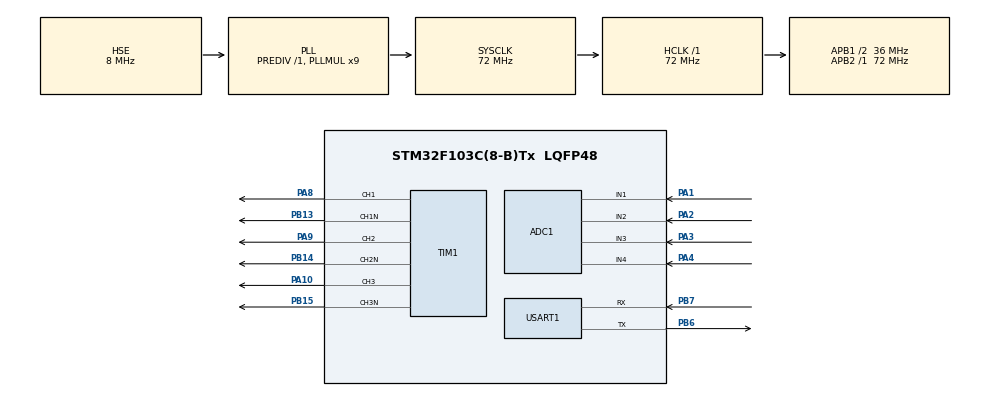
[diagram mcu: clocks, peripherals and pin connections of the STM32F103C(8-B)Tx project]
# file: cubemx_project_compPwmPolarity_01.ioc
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ADC1.Channel-0\#ChannelRegularConversion=ADC_CHANNEL_1
ADC1.ContinuousConvMode=ENABLE
ADC1.NbrOfConversion=1
ADC1.NbrOfConversionFlag=1
ADC1.Rank-0\#ChannelRegularConversion=1
ADC1.SamplingTime-0\#ChannelRegularConversion=ADC_SAMPLETIME_71CYCLES_5
ADC1.master=1
Mcu.Family=STM32F1
Mcu.Name=STM32F103C(8-B)Tx
Mcu.Package=LQFP48
NVIC.ADC1_2_IRQn=true\:0\:0\:false\:false\:true\:true\:true\:true
NVIC.PriorityGroup=NVIC_PRIORITYGROUP_4
NVIC.RCC_IRQn=true\:0\:0\:false\:false\:true\:true\:false\:true
NVIC.TIM1_CC_IRQn=true\:0\:0\:false\:false\:true\:true\:true\:true
NVIC.TIM1_TRG_COM_IRQn=true\:0\:0\:false\:false\:true\:true\:true\:true
NVIC.TIM2_IRQn=true\:0\:0\:false\:false\:true\:true\:true\:true
NVIC.USART1_IRQn=true\:0\:0\:false\:false\:true\:true\:true\:true
PA1.Signal=ADCx_IN1
PA10.GPIO_Speed=GPIO_SPEED_FREQ_HIGH
PA10.Signal=S_TIM1_CH3
PA13.Mode=Serial_Wire
PA13.Signal=SYS_JTMS-SWDIO
PA14.Mode=Serial_Wire
PA14.Signal=SYS_JTCK-SWCLK
PA2.Signal=ADCx_IN2
PA3.Signal=ADCx_IN3
PA4.Signal=ADCx_IN4
PA8.GPIO_Speed=GPIO_SPEED_FREQ_HIGH
PA8.Signal=S_TIM1_CH1
PA9.GPIO_Speed=GPIO_SPEED_FREQ_HIGH
PA9.Signal=S_TIM1_CH2
PB13.GPIO_Speed=GPIO_SPEED_FREQ_HIGH
PB13.Mode=PWM Generation1 CH1 CH1N
PB13.Signal=TIM1_CH1N
PB14.GPIO_Speed=GPIO_SPEED_FREQ_HIGH
PB14.Mode=PWM Generation2 CH2 CH2N
PB14.Signal=TIM1_CH2N
PB15.GPIO_Speed=GPIO_SPEED_FREQ_HIGH
PB15.Mode=PWM Generation3 CH3 CH3N
PB15.Signal=TIM1_CH3N
PB6.Mode=Asynchronous
PB6.Signal=USART1_TX
PB7.Mode=Asynchronous
PB7.Signal=USART1_RX
PD0-OSC_IN.Mode=HSE-External-Oscillator
PD0-OSC_IN.Signal=RCC_OSC_IN
PD1-OSC_OUT.Mode=HSE-External-Oscillator
PD1-OSC_OUT.Signal=RCC_OSC_OUT
ProjectManager.HeapSize=0x200
ProjectManager.StackSize=0x400
ProjectManager.TargetToolchain=STM32CubeIDE
RCC.ADCPresc=RCC_ADCPCLK2_DIV6
RCC.AHBFreq_Value=72000000
RCC.APB1CLKDivider=RCC_HCLK_DIV2
RCC.APB1Freq_Value=36000000
RCC.APB1TimFreq_Value=72000000
RCC.APB2Freq_Value=72000000
RCC.APB2TimFreq_Value=72000000
RCC.HCLKFreq_Value=72000000
RCC.PLLMUL=RCC_PLL_MUL9
RCC.PLLSourceVirtual=RCC_PLLSOURCE_HSE
RCC.SYSCLKFreq_VALUE=72000000
RCC.SYSCLKSource=RCC_SYSCLKSOURCE_PLLCLK
RCC.USBFreq_Value=72000000
SH.ADCx_IN1.0=ADC1_IN1,IN1
SH.ADCx_IN2.0=ADC1_IN2,IN2
SH.ADCx_IN3.0=ADC1_IN3,IN3
SH.ADCx_IN4.0=ADC1_IN4,IN4
SH.S_TIM1_CH1.0=TIM1_CH1,PWM Generation1 CH1 CH1N
SH.S_TIM1_CH2.0=TIM1_CH2,PWM Generation2 CH2 CH2N
SH.S_TIM1_CH3.0=TIM1_CH3,PWM Generation3 CH3 CH3N
TIM1.AutoReloadPreload=TIM_AUTORELOAD_PRELOAD_DISABLE
TIM1.Channel-PWM\ Generation1\ CH1\ CH1N=TIM_CHANNEL_1
TIM1.Channel-PWM\ Generation2\ CH2\ CH2N=TIM_CHANNEL_2
TIM1.Channel-PWM\ Generation3\ CH3\ CH3N=TIM_CHANNEL_3
TIM1.OC1Preload_PWM=DISABLE
TIM1.OC2Preload_PWM=DISABLE
TIM1.OC3Preload_PWM=DISABLE
TIM1.OCFastMode_PWM-PWM\ Generation1\ CH1\ CH1N=TIM_OCFAST_ENABLE
TIM1.OCFastMode_PWM-PWM\ Generation2\ CH2\ CH2N=TIM_OCFAST_ENABLE
TIM1.OCFastMode_PWM-PWM\ Generation3\ CH3\ CH3N=TIM_OCFAST_ENABLE
TIM1.OCPolarity_1=TIM_OCPOLARITY_HIGH
TIM1.TIM_MasterOutputTrigger=TIM_TRGO_UPDATE
TIM1.TIM_MasterSlaveMode=TIM_MASTERSLAVEMODE_ENABLE
USART1.VirtualMode=VM_ASYNC
VP_ADC1_Vref_Input.Mode=IN-Vrefint
VP_TIM1_VS_ClockSourceINT.Mode=Internal
VP_TIM2_VS_ClockSourceITR.Mode=TriggerSource_ITR0
VP_TIM2_VS_ControllerModeClock.Mode=Clock Mode
board=custom

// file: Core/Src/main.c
/* USER CODE BEGIN Header */
/**
  ******************************************************************************
  * @file           : main.c
  * @brief          : Main program body
  ******************************************************************************
  * @attention
  *
  * Copyright (c) 2024 STMicroelectronics.
  * All rights reserved.
  *
  * This software is licensed under terms that can be found in the LICENSE file
  * in the root directory of this software component.
  * If no LICENSE file comes with this software, it is provided AS-IS.
  *
  ******************************************************************************
  */
/* USER CODE END Header */
#include "main.h"
#include "adc.h"
#include "tim.h"
#include "usart.h"
#include "gpio.h"

/* USER CODE BEGIN Includes */
#include <stdbool.h>
#include <string.h>
#include <stdio.h>
/* USER CODE END Includes */

/* USER CODE BEGIN PTD */
ADC_ChannelConfTypeDef sConfigPrivate = {0};
/* USER CODE END PTD */

/* USER CODE BEGIN PM */
#define FILTER_SIZE 5
/* USER CODE END PM */

/* USER CODE BEGIN PV */
uint16_t autoReload = 60;
uint16_t prescaler = 12;

bool g_adcFinishedFlg;
bool g_adcConvFlg;

uint16_t readValue[5];
uint16_t pil[4];

uint16_t adcBuffer[4][FILTER_SIZE] = {0};
uint8_t bufferIndex = 0;
/* USER CODE END PV */

void SystemClock_Config(void);
/* USER CODE BEGIN PFP */
void UsrInitPwm(void);
void UsrTim2Init(void);
void UsrInitGpio(void);
void UsrReadAdc(void);
void UsrTrigPwm1Channel1(void);
void UsrTrigSwapPwm1Channel1(void);
void UsrTrigPwm1Channel2(void);
void UsrTrigSwapPwm1Channel2(void);
void UsrTrigPwm1Channel3(void);
void UsrTrigSwapPwm1Channel3(void);
void UsrCheckBat1Bat2(void);
void UsrCheckBat2Bat3(void);
void UsrCheckBat3Bat4(void);
/* USER CODE END PFP */

/* USER CODE BEGIN 0 */
uint16_t MovingAverage(uint16_t* buffer, uint8_t size)
{
    uint32_t sum = 0;
    for(uint8_t i = 0; i < size; i++)
    {
        sum += buffer[i];
    }
    return (uint16_t)(sum / size);
}

void UsrReadAdc(void)
{
	sConfigPrivate.Rank = ADC_REGULAR_RANK_1;
	sConfigPrivate.SamplingTime = ADC_SAMPLETIME_71CYCLES_5;
	sConfigPrivate.Channel = ADC_CHANNEL_1;
	HAL_ADC_ConfigChannel(&hadc1, &sConfigPrivate);
	HAL_ADC_Start(&hadc1);
	HAL_ADC_PollForConversion(&hadc1, 1000);
	readValue[0] = HAL_ADC_GetValue(&hadc1);
	HAL_ADC_Stop(&hadc1);

	sConfigPrivate.SamplingTime = ADC_SAMPLETIME_71CYCLES_5;
	sConfigPrivate.Channel = ADC_CHANNEL_2;
	HAL_ADC_ConfigChannel(&hadc1, &sConfigPrivate);
	HAL_ADC_Start(&hadc1);
	HAL_ADC_PollForConversion(&hadc1, 1000);
	readValue[1] = HAL_ADC_GetValue(&hadc1);
	HAL_ADC_Stop(&hadc1);

	sConfigPrivate.SamplingTime = ADC_SAMPLETIME_71CYCLES_5;
	sConfigPrivate.Channel = ADC_CHANNEL_3;
	HAL_ADC_ConfigChannel(&hadc1, &sConfigPrivate);
	HAL_ADC_Start(&hadc1);
	HAL_ADC_PollForConversion(&hadc1, 1000);
	readValue[2] = HAL_ADC_GetValue(&hadc1);
	HAL_ADC_Stop(&hadc1);

	sConfigPrivate.SamplingTime = ADC_SAMPLETIME_71CYCLES_5;
	sConfigPrivate.Channel = ADC_CHANNEL_4;
	HAL_ADC_ConfigChannel(&hadc1, &sConfigPrivate);
	HAL_ADC_Start(&hadc1);
	HAL_ADC_PollForConversion(&hadc1, 1000);
	readValue[3] = HAL_ADC_GetValue(&hadc1);
	HAL_ADC_Stop(&hadc1);

	sConfigPrivate.SamplingTime = ADC_SAMPLETIME_71CYCLES_5;
	sConfigPrivate.Channel = ADC_CHANNEL_VREFINT;
	HAL_ADC_ConfigChannel(&hadc1, &sConfigPrivate);
	HAL_ADC_Start(&hadc1);
	HAL_ADC_PollForConversion(&hadc1, 1000);
	readValue[4] = HAL_ADC_GetValue(&hadc1);
	HAL_ADC_Stop(&hadc1);

//	pil[0] = (readValue[0] / 4096.0) * 1000;
//	pil[1] = (readValue[1] / 4096.0) * 1000;
//	pil[2] = (readValue[2] / 4096.0) * 1000;
//	pil[3] = (readValue[3] / 4096.0) * 1000;

    for (uint8_t i = 0; i < 4; i++)
    {
        adcBuffer[i][bufferIndex] = readValue[i];
        pil[i] = MovingAverage(adcBuffer[i], FILTER_SIZE);
    }

    bufferIndex = (bufferIndex + 1) % FILTER_SIZE;
}

void UsrInitGpio(void)
{
//	GPIOA->CRL &= (uint32_t)0x00;
//	GPIOB->CRL &= (uint32_t)0x00;

//	GPIOA->CRH &= (uint32_t)0x0000;
	GPIOA->CRH |= (uint32_t)0x0BBB;

//	GPIOB->CRH &= (uint32_t)0x00;
	GPIOB->CRH |= (uint32_t)0xBBB00000;
}

void UsrInitPwm(void)
{
    // Zamanlayıcı ayarları
	TIM1->PSC = prescaler - 1;
	TIM1->ARR = autoReload - 1;  // Auto-reload register

    // PWM mode 1 (upcounting, TIMx_CCRx < TIMx_CNT) oc1 and oc2
	TIM1->CCMR1 |= (uint32_t)0x6464;  // pwm mode 1 and output compare enable

	// Capture/compare register  output compare fast enable
	TIM1->CCMR2 |= (uint32_t)0x006C;

    // Break and dead-time register (BDTR)
	TIM1->BDTR |= (uint32_t)0x8800;  // MOE enable and OSSI disable

	TIM1->EGR |= (uint32_t)0x01; // update generation

    // Counter enable
	TIM1->CR1 |= (uint32_t)0x01;  // Counter enable
}

void UsrTim2Init(void)
{
	TIM2->PSC = 719 - 1;
	TIM2->ARR = 100 - 1;

	TIM2->SMCR |= (uint32_t)0x56; // bit[6:4] 101: Filtered Timer Input 1 (TI1FP1)  and  bit[2:0] 10: Trigger mode

	TIM2->DIER |= (uint32_t)0x01;  // update interrupt enable

	NVIC_EnableIRQ(TIM2_IRQn);
	TIM2->CR1 |= (uint32_t)0x01;  // counter enable
}

void UsrTrigPwm1Channel1(void)
{
	// Capture/compare register
	TIM1->CCR1 = (autoReload) * (0.6);  // Duty cycle
	TIM1->CCER |= (uint32_t)0x5;  // TIM1_CH1 output enable and TIM1_CH1N complementary output enable
	TIM1->CCER &= ~(uint32_t)0xA;  // polarity high
}

void UsrTrigSwapPwm1Channel1(void)
{
	TIM1->CCR1 = (autoReload) * (0.6);
	TIM1->CCER |= (uint32_t)0x5;  // TIM1_CH1 output enable and TIM1_CH1N complementary output enable
	TIM1->CCER |= (uint32_t)0xA;  // polarity low
}

void UsrTrigPwm1Channel2(void)
{
	TIM1->CCR2 = (autoReload) * (0.7);
	TIM1->CCER |= (uint32_t)0x50;  // TIM1_CH2 output enable and TIM1_CH2N complementary output enable
	TIM1->CCER &= ~(uint32_t)0xA0;  // polarity high
}

void UsrTrigSwapPwm1Channel2(void)
{
	TIM1->CCR2 = (autoReload) * (0.7);
	TIM1->CCER |= (uint32_t)0x50;  // TIM1_CH2 output enable and TIM1_CH2N complementary output enable
	TIM1->CCER |= (uint32_t)0xA0;  // polarity low
}

void UsrTrigPwm1Channel3(void)
{
	TIM1->CCR3 = (autoReload) * (0.8);
	TIM1->CCER |= (uint32_t)0x500;  // TIM1_CH3 output enable and TIM1_CH3N complementary output enable
	TIM1->CCER &= ~(uint32_t)0xA00;  // polarity high
}

void UsrTrigSwapPwm1Channel3(void)
{
	TIM1->CCR3 = (autoReload) * (0.8);
	TIM1->CCER |= (uint32_t)0x500;  // TIM1_CH3 output enable and TIM1_CH3N complementary output enable
	TIM1->CCER |= (uint32_t)0xA00;  // polarity low
}

void UsrCheckBat1Bat2(void)
{
	if (pil[0] > pil[1])
	{
		UsrTrigSwapPwm1Channel1();
	}
	else
		UsrTrigPwm1Channel1();
}

void UsrCheckBat2Bat3(void)
{
	if(pil[1] > pil[2])
	{
		UsrTrigSwapPwm1Channel2();
	}
	else
		UsrTrigPwm1Channel2();
}

void UsrCheckBat3Bat4(void)
{
	if (pil[2] > pil[3])
	{
		UsrTrigSwapPwm1Channel3();
	}
	else
		UsrTrigPwm1Channel3();
}

/* USER CODE END 0 */

int main(void)
{

  /* MCU Configuration--------------------------------------------------------*/

  /* Reset of all peripherals, Initializes the Flash interface and the Systick. */
  HAL_Init();

  /* Configure the system clock */
  SystemClock_Config();

  /* Initialize all configured peripherals */
  MX_GPIO_Init();
  MX_TIM1_Init();
  MX_TIM2_Init();
  MX_ADC1_Init();
  MX_USART1_UART_Init();
  /* USER CODE BEGIN 2 */
  UsrInitGpio();
  UsrTim2Init();
  UsrInitPwm();

  HAL_ADCEx_Calibration_Start(&hadc1);

  /* USER CODE END 2 */

  /* Infinite loop */
  while (1)
  {

    /* USER CODE BEGIN 3 */
	  UsrReadAdc();
//	  UsrCheckBat1Bat2();
//	  UsrCheckBat2Bat3();
//	  UsrCheckBat3Bat4();
  }
  /* USER CODE END 3 */
}

void SystemClock_Config(void)
{
  RCC_OscInitTypeDef RCC_OscInitStruct = {0};
  RCC_ClkInitTypeDef RCC_ClkInitStruct = {0};
  RCC_PeriphCLKInitTypeDef PeriphClkInit = {0};

  /** Initializes the RCC Oscillators according to the specified parameters
  * in the RCC_OscInitTypeDef structure.
  */
  RCC_OscInitStruct.OscillatorType = RCC_OSCILLATORTYPE_HSE;
  RCC_OscInitStruct.HSEState = RCC_HSE_ON;
  RCC_OscInitStruct.HSEPredivValue = RCC_HSE_PREDIV_DIV1;
  RCC_OscInitStruct.HSIState = RCC_HSI_ON;
  RCC_OscInitStruct.PLL.PLLState = RCC_PLL_ON;
  RCC_OscInitStruct.PLL.PLLSource = RCC_PLLSOURCE_HSE;
  RCC_OscInitStruct.PLL.PLLMUL = RCC_PLL_MUL9;
  if (HAL_RCC_OscConfig(&RCC_OscInitStruct) != HAL_OK)
  {
    Error_Handler();
  }

  /** Initializes the CPU, AHB and APB buses clocks
  */
  RCC_ClkInitStruct.ClockType = RCC_CLOCKTYPE_HCLK|RCC_CLOCKTYPE_SYSCLK
                              |RCC_CLOCKTYPE_PCLK1|RCC_CLOCKTYPE_PCLK2;
  RCC_ClkInitStruct.SYSCLKSource = RCC_SYSCLKSOURCE_PLLCLK;
  RCC_ClkInitStruct.AHBCLKDivider = RCC_SYSCLK_DIV1;
  RCC_ClkInitStruct.APB1CLKDivider = RCC_HCLK_DIV2;
  RCC_ClkInitStruct.APB2CLKDivider = RCC_HCLK_DIV1;

  if (HAL_RCC_ClockConfig(&RCC_ClkInitStruct, FLASH_LATENCY_2) != HAL_OK)
  {
    Error_Handler();
  }
  PeriphClkInit.PeriphClockSelection = RCC_PERIPHCLK_ADC;
  PeriphClkInit.AdcClockSelection = RCC_ADCPCLK2_DIV6;
  if (HAL_RCCEx_PeriphCLKConfig(&PeriphClkInit) != HAL_OK)
  {
    Error_Handler();
  }
}

void Error_Handler(void)
{
  __disable_irq();
  while (1)
  {
  }
}
